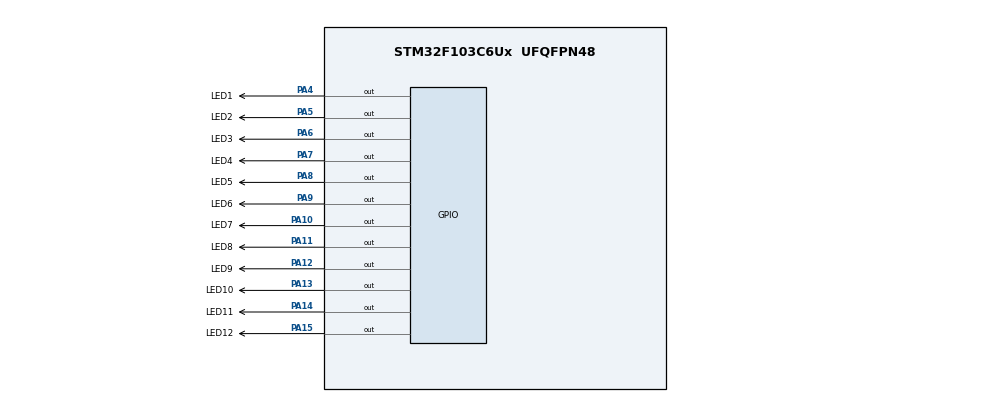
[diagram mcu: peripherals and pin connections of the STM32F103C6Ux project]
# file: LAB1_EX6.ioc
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Mcu.Family=STM32F1
Mcu.Name=STM32F103C6Ux
Mcu.Package=UFQFPN48
NVIC.PriorityGroup=NVIC_PRIORITYGROUP_4
PA10.GPIO_Label=LED7
PA10.Signal=GPIO_Output
PA11.GPIO_Label=LED8
PA11.Signal=GPIO_Output
PA12.GPIO_Label=LED9
PA12.Signal=GPIO_Output
PA13.GPIO_Label=LED10
PA13.Signal=GPIO_Output
PA14.GPIO_Label=LED11
PA14.Signal=GPIO_Output
PA15.GPIO_Label=LED12
PA15.Signal=GPIO_Output
PA4.GPIO_Label=LED1
PA4.Signal=GPIO_Output
PA5.GPIO_Label=LED2
PA5.Signal=GPIO_Output
PA6.GPIO_Label=LED3
PA6.Signal=GPIO_Output
PA7.GPIO_Label=LED4
PA7.Signal=GPIO_Output
PA8.GPIO_Label=LED5
PA8.Signal=GPIO_Output
PA9.GPIO_Label=LED6
PA9.Signal=GPIO_Output
ProjectManager.HeapSize=0x200
ProjectManager.StackSize=0x400
ProjectManager.TargetToolchain=STM32CubeIDE
RCC.APB1Freq_Value=8000000
RCC.APB2Freq_Value=8000000
VP_SYS_VS_ND.Mode=No_Debug
board=custom

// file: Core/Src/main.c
/* USER CODE BEGIN Header */
/**
  ******************************************************************************
  * @file           : main.c
  * @brief          : Main program body
  ******************************************************************************
  * @attention
  *
  * <h2><center>&copy; Copyright (c) 2025 STMicroelectronics.
  * All rights reserved.</center></h2>
  *
  * This software component is licensed by ST under BSD 3-Clause license,
  * the "License"; You may not use this file except in compliance with the
  * License. You may obtain a copy of the License at:
  *                        opensource.org/licenses/BSD-3-Clause
  *
  ******************************************************************************
  */
/* USER CODE END Header */
#include "main.h"

void SystemClock_Config(void);
static void MX_GPIO_Init(void);

int main(void)
{

  /* MCU Configuration--------------------------------------------------------*/

  /* Reset of all peripherals, Initializes the Flash interface and the Systick. */
  HAL_Init();

  /* Configure the system clock */
  SystemClock_Config();

  /* Initialize all configured peripherals */
  MX_GPIO_Init();

  /* Infinite loop */
  /* USER CODE BEGIN WHILE */
  void setNumberOnClock(int num){
	  switch(num){

	    case 0: HAL_GPIO_WritePin(LED1_GPIO_Port, LED1_Pin, GPIO_PIN_RESET); break;
	    case 1: HAL_GPIO_WritePin(LED2_GPIO_Port, LED2_Pin, GPIO_PIN_RESET); break;
	    case 2: HAL_GPIO_WritePin(LED3_GPIO_Port, LED3_Pin, GPIO_PIN_RESET); break;
	    case 3: HAL_GPIO_WritePin(LED4_GPIO_Port, LED4_Pin, GPIO_PIN_RESET); break;
	    case 4: HAL_GPIO_WritePin(LED5_GPIO_Port, LED5_Pin, GPIO_PIN_RESET); break;
	    case 5: HAL_GPIO_WritePin(LED6_GPIO_Port, LED6_Pin, GPIO_PIN_RESET); break;
	    case 6: HAL_GPIO_WritePin(LED7_GPIO_Port, LED7_Pin, GPIO_PIN_RESET); break;
	    case 7: HAL_GPIO_WritePin(LED8_GPIO_Port, LED8_Pin, GPIO_PIN_RESET); break;
	    case 8: HAL_GPIO_WritePin(LED9_GPIO_Port, LED9_Pin, GPIO_PIN_RESET); break;
	    case 9: HAL_GPIO_WritePin(LED10_GPIO_Port, LED10_Pin, GPIO_PIN_RESET); break;
	    case 10: HAL_GPIO_WritePin(LED11_GPIO_Port, LED11_Pin, GPIO_PIN_RESET); break;
	    case 11: HAL_GPIO_WritePin(LED12_GPIO_Port, LED12_Pin, GPIO_PIN_RESET); break;
	              default: break;
	      }
      }

   void clearAllClock(){
          HAL_GPIO_WritePin(LED1_GPIO_Port, LED1_Pin, GPIO_PIN_SET);
	      HAL_GPIO_WritePin(LED2_GPIO_Port, LED2_Pin, GPIO_PIN_SET);
	      HAL_GPIO_WritePin(LED3_GPIO_Port, LED3_Pin, GPIO_PIN_SET);
	      HAL_GPIO_WritePin(LED4_GPIO_Port, LED4_Pin, GPIO_PIN_SET);
	      HAL_GPIO_WritePin(LED5_GPIO_Port, LED5_Pin, GPIO_PIN_SET);
	      HAL_GPIO_WritePin(LED6_GPIO_Port, LED6_Pin, GPIO_PIN_SET);
	      HAL_GPIO_WritePin(LED7_GPIO_Port, LED7_Pin, GPIO_PIN_SET);
	      HAL_GPIO_WritePin(LED8_GPIO_Port, LED8_Pin, GPIO_PIN_SET);
	      HAL_GPIO_WritePin(LED9_GPIO_Port, LED9_Pin, GPIO_PIN_SET);
	      HAL_GPIO_WritePin(LED10_GPIO_Port, LED10_Pin, GPIO_PIN_SET);
	      HAL_GPIO_WritePin(LED11_GPIO_Port, LED11_Pin, GPIO_PIN_SET);
	      HAL_GPIO_WritePin(LED12_GPIO_Port, LED12_Pin, GPIO_PIN_SET);}

  int count = 0 ;

   while (1)
  { clearAllClock();
    if(count>=12) count=0;
    setNumberOnClock(count);
    count++;
    HAL_Delay(1000);
    /* USER CODE END WHILE */

  }
}

void SystemClock_Config(void)
{
  RCC_OscInitTypeDef RCC_OscInitStruct = {0};
  RCC_ClkInitTypeDef RCC_ClkInitStruct = {0};

  /** Initializes the RCC Oscillators according to the specified parameters
  * in the RCC_OscInitTypeDef structure.
  */
  RCC_OscInitStruct.OscillatorType = RCC_OSCILLATORTYPE_HSI;
  RCC_OscInitStruct.HSIState = RCC_HSI_ON;
  RCC_OscInitStruct.HSICalibrationValue = RCC_HSICALIBRATION_DEFAULT;
  RCC_OscInitStruct.PLL.PLLState = RCC_PLL_NONE;
  if (HAL_RCC_OscConfig(&RCC_OscInitStruct) != HAL_OK)
  {
    Error_Handler();
  }
  /** Initializes the CPU, AHB and APB buses clocks
  */
  RCC_ClkInitStruct.ClockType = RCC_CLOCKTYPE_HCLK|RCC_CLOCKTYPE_SYSCLK
                              |RCC_CLOCKTYPE_PCLK1|RCC_CLOCKTYPE_PCLK2;
  RCC_ClkInitStruct.SYSCLKSource = RCC_SYSCLKSOURCE_HSI;
  RCC_ClkInitStruct.AHBCLKDivider = RCC_SYSCLK_DIV1;
  RCC_ClkInitStruct.APB1CLKDivider = RCC_HCLK_DIV1;
  RCC_ClkInitStruct.APB2CLKDivider = RCC_HCLK_DIV1;

  if (HAL_RCC_ClockConfig(&RCC_ClkInitStruct, FLASH_LATENCY_0) != HAL_OK)
  {
    Error_Handler();
  }
}

static void MX_GPIO_Init(void)
{
  GPIO_InitTypeDef GPIO_InitStruct = {0};

  /* GPIO Ports Clock Enable */
  __HAL_RCC_GPIOA_CLK_ENABLE();

  /*Configure GPIO pin Output Level */
  HAL_GPIO_WritePin(GPIOA, LED1_Pin|LED2_Pin|LED3_Pin|LED4_Pin
                          |LED5_Pin|LED6_Pin|LED7_Pin|LED8_Pin
                          |LED9_Pin|LED10_Pin|LED11_Pin|LED12_Pin, GPIO_PIN_RESET);

  /*Configure GPIO pins : LED1_Pin LED2_Pin LED3_Pin LED4_Pin
                           LED5_Pin LED6_Pin LED7_Pin LED8_Pin
                           LED9_Pin LED10_Pin LED11_Pin LED12_Pin */
  GPIO_InitStruct.Pin = LED1_Pin|LED2_Pin|LED3_Pin|LED4_Pin
                          |LED5_Pin|LED6_Pin|LED7_Pin|LED8_Pin
                          |LED9_Pin|LED10_Pin|LED11_Pin|LED12_Pin;
  GPIO_InitStruct.Mode = GPIO_MODE_OUTPUT_PP;
  GPIO_InitStruct.Pull = GPIO_NOPULL;
  GPIO_InitStruct.Speed = GPIO_SPEED_FREQ_LOW;
  HAL_GPIO_Init(GPIOA, &GPIO_InitStruct);

}

void Error_Handler(void)
{
  __disable_irq();
  while (1)
  {
  }
}

/************************ (C) COPYRIGHT STMicroelectronics *****END OF FILE****/
